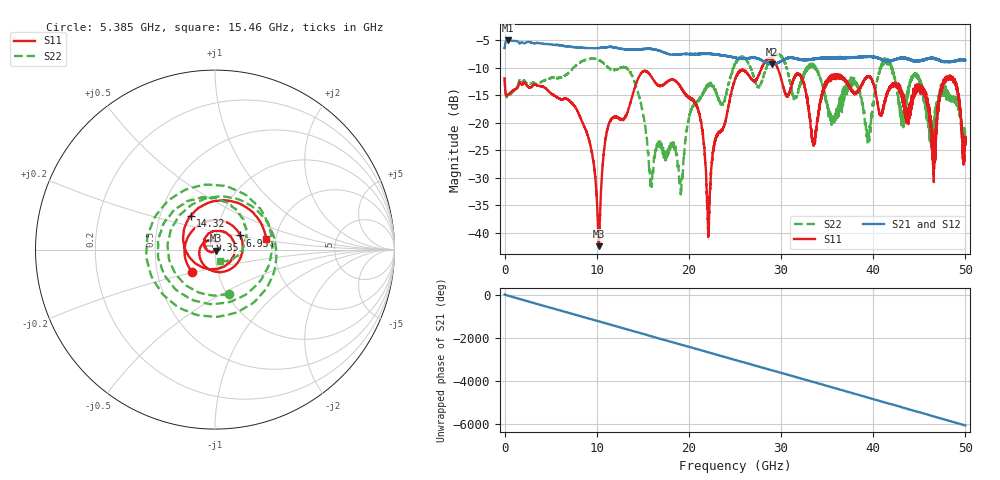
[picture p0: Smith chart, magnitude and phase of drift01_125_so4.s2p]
!Created with skrf (http://scikit-rf.org).
# Hz S RI R 50.0
!freq ReS11 ImS11 ReS21 ImS21 ReS12 ImS12 ReS22 ImS22
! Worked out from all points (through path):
!   10001 points, 300 kHz to 50 GHz, reference 50 ohm
!   highest |S21| = -5.05 dB at 360.3 MHz (marker M1); lowest = -9.4 dB at 29.02 GHz (marker M2)
!   group delay of S21, straight-line fit = 336 ps
!   lowest |S11| = -42.4 dB at 10.23 GHz (marker M3), VSWR 1.02, Z = 50.4 - j0.627 ohm
!   |S11| at or under -10 dB: start of sweep to 27.9 GHz; 29.6 GHz to end of sweep
!   |S22| runs from -33.3 to -7.5 dB; largest |S21 - S12| = 0.015
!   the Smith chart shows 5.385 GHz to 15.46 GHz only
!   S11 on the Smith chart (normalised r, x): 5.385 GHz: 0.75, -0.19; 6.93 GHz: 1.31, +0.21; 9.35 GHz: 0.94, +0.10; 14.32 GHz: 0.71, +0.28; 15.46 GHz: 1.78, +0.23
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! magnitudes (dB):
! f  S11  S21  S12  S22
! 300 kHz  -12.0  -6.5  -6.5  -11.7
! 360.3 MHz  -14.9  -5.1  -5.1  -15.2
! 5.385 GHz  -15.0  -5.8  -5.9  -11.8
! 6.93 GHz  -15.9  -6.1  -6.1  -10.9
! 8.335 GHz  -19.5  -6.4  -6.4  -8.9
! 9.35 GHz  -24.4  -6.5  -6.5  -8.4
! 10.23 GHz  -42.4  -6.4  -6.4  -8.6
! 11.23 GHz  -20.6  -6.2  -6.3  -9.9
! 14.32 GHz  -12.7  -6.7  -6.7  -13.6
! 15.46 GHz  -10.7  -6.6  -6.5  -23.2
! 16.67 GHz  -13.2  -6.9  -6.9  -23.4
! 19.14 GHz  -13.6  -7.5  -7.6  -33.2
! 20.86 GHz  -17.0  -7.5  -7.5  -16.2
! 22.13 GHz  -39.8  -7.5  -7.5  -13.4
! 25 GHz  -12.1  -8.2  -8.2  -9.4
! 29.02 GHz  -8.5  -9.4  -9.3  -8.1
! 33.34 GHz  -22.6  -8.5  -8.4  -9.6
! 39.47 GHz  -11.7  -8.0  -8.0  -22.0
! 41.67 GHz  -13.9  -8.8  -8.8  -9.2
! 46.56 GHz  -27.5  -8.3  -8.3  -20.4
! 48.55 GHz  -11.8  -8.9  -8.9  -15.5
! 50 GHz  -23.4  -8.7  -8.6  -23.1
